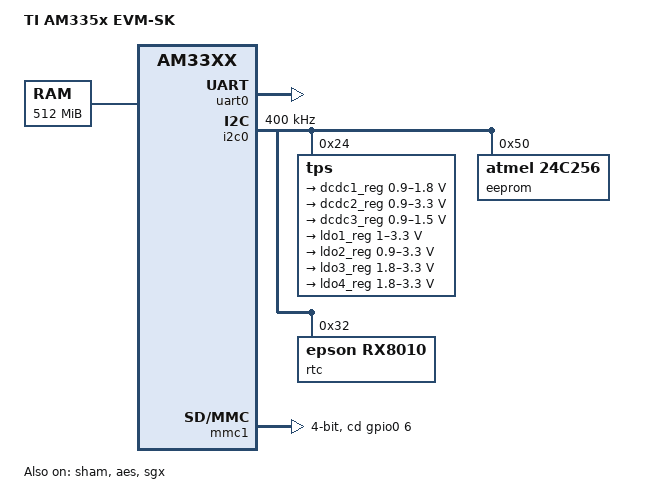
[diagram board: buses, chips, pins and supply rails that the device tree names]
/*
 * Copyright (C) 2012 Texas Instruments Incorporated - http://www.ti.com/
 *
 * This program is free software; you can redistribute it and/or modify
 * it under the terms of the GNU General Public License version 2 as
 * published by the Free Software Foundation.
 */

/*
 * AM335x Starter Kit
 * http://www.ti.com/tool/tmdssk3358
 */

/dts-v1/;

#include "am33xx.dtsi"
#include <dt-bindings/pwm/pwm.h>
#include <dt-bindings/interrupt-controller/irq.h>

/ {
	model = "TI AM335x EVM-SK";
	compatible = "ti,am335x-evmsk", "ti,am33xx";

	cpus {
		cpu@0 {
			cpu0-supply = <&dcdc3_reg>;
		};
	};

	memory@80000000 {
		device_type = "memory";
		reg = <0x80000000 0x20000000>; /* 512 MB */
	};

	chosen {
		stdout-path = &uart0;
	};
};

&am33xx_pinmux {
	i2c0_pins: pinmux_i2c0_pins {
		pinctrl-single,pins = <
			AM33XX_IOPAD(0x98c, PIN_INPUT | MUX_MODE0) /* (C16) I2C0_SCL.I2C0_SCL */
			AM33XX_IOPAD(0x988, PIN_INPUT | MUX_MODE0) /* (C17) I2C0_SDA.I2C0_SDA */
		>;
	};

	uart0_pins: pinmux_uart0_pins {
		pinctrl-single,pins = <
			AM33XX_IOPAD(0x970, PIN_INPUT_PULLUP | MUX_MODE0) /* (E15) uart0_rxd.uart0_rxd */
			AM33XX_IOPAD(0x974, PIN_OUTPUT | MUX_MODE0) /* (E16) uart0_txd.uart0_txd */
		>;
	};

	mmc1_pins: pinmux_mmc1_pins {
		pinctrl-single,pins = <
			AM33XX_IOPAD(0x900, PIN_INPUT_PULLUP | MUX_MODE0) /* (G17) mmc0_clk.mmc0_clk */
			AM33XX_IOPAD(0x904, PIN_INPUT_PULLUP | MUX_MODE0) /* (G18) mmc0_cmd.mmc0_cmd */
			AM33XX_IOPAD(0x8fc, PIN_INPUT_PULLUP | MUX_MODE0) /* (G16) mmc0_dat0.mmc0_dat0 */
			AM33XX_IOPAD(0x8f8, PIN_INPUT_PULLUP | MUX_MODE0) /* (G15) mmc0_dat1.mmc0_dat1 */
			AM33XX_IOPAD(0x8f4, PIN_INPUT_PULLUP | MUX_MODE0) /* (F18) mmc0_dat2.mmc0_dat2 */
			AM33XX_IOPAD(0x8f0, PIN_INPUT_PULLUP | MUX_MODE0) /* (F17) mmc0_dat3.mmc0_dat3 */
			AM33XX_IOPAD(0x960, PIN_INPUT_PULLUP | MUX_MODE5) /* (C15) spi0_cs1.mmc0_sdcd */
		>;
	};
};

&uart0 {
	pinctrl-names = "default";
	pinctrl-0 = <&uart0_pins>;

	status = "okay";
};

&i2c0 {
	pinctrl-names = "default";
	pinctrl-0 = <&i2c0_pins>;

	status = "okay";
	clock-frequency = <400000>;

	tps: tps@24 {
		reg = <0x24>;
	};

	eeprom: eeprom@50 {
		compatible = "atmel,24c256";
		reg = <0x50>;
	};

	rtc@32 {
		compatible = "epson,rx8010";
		reg = <0x32>;
	};
};

#include "tps65217.dtsi"

&tps {
	regulators {
		dcdc1_reg: regulator@0 {
			/* +1.5V voltage with ±4% tolerance */
			regulator-min-microvolt = <900000>;
			regulator-max-microvolt = <1800000>;
			regulator-boot-on;
			regulator-always-on;
		};

		dcdc2_reg: regulator@1 {
			/* VDD_MPU voltage limits 0.95V - 1.1V with ±4% tolerance */
			regulator-name = "vdd_core";
			regulator-min-microvolt = <900000>;
			regulator-max-microvolt = <3300000>;
			regulator-boot-on;
			regulator-always-on;
		};

		dcdc3_reg: regulator@2 {
			/* VDD_CORE voltage limits 0.95V - 1.1V with ±4% tolerance */
			regulator-name = "vdd_mpu";
			regulator-min-microvolt = <900000>;
			regulator-max-microvolt = <1500000>;
			regulator-boot-on;
			regulator-always-on;
		};

		ldo1_reg: regulator@3 {
			/* +1.8V voltage with ±4% tolerance */
			regulator-min-microvolt = <1000000>;
			regulator-max-microvolt = <3300000>;
			regulator-boot-on;
			regulator-always-on;
		};

		ldo2_reg: regulator@4 {
			/* +3.3V voltage with ±4% tolerance */
			regulator-min-microvolt = <900000>;
			regulator-max-microvolt = <3300000>;
			regulator-boot-on;
			regulator-always-on;
		};

		ldo3_reg: regulator@5 {
			/* +1.8V voltage with ±4% tolerance */
			regulator-min-microvolt = <1800000>;
			regulator-max-microvolt = <3300000>;
			regulator-boot-on;
			regulator-always-on;
		};

		ldo4_reg: regulator@6 {
			/* +3.3V voltage with ±4% tolerance */
			regulator-min-microvolt = <1800000>;
			regulator-max-microvolt = <3300000>;
			regulator-boot-on;
			regulator-always-on;
		};
	};
};

&mmc1 {
	status = "okay";
	bus-width = <4>;
	pinctrl-names = "default";
	pinctrl-0 = <&mmc1_pins>;
	cd-gpios = <&gpio0 6 GPIO_ACTIVE_HIGH>;
};

&sham {
	status = "okay";
};

&aes {
	status = "okay";
};

&sgx {
	status = "okay";
};
